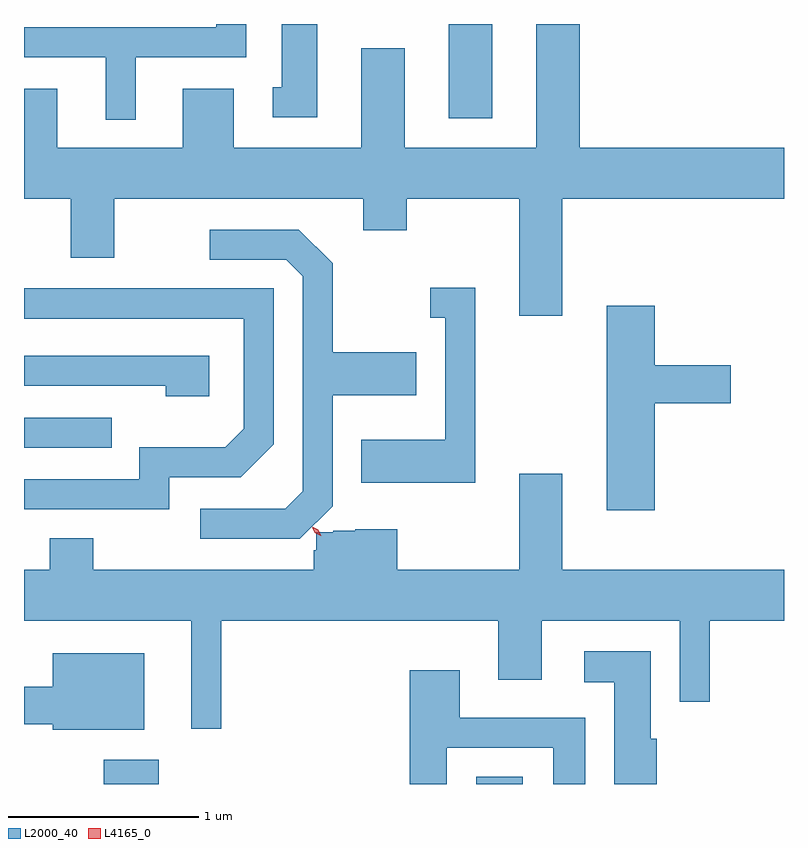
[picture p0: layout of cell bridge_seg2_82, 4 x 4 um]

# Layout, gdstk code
import gdstk
lib = gdstk.Library(unit=1e-6, precision=1e-09)
def R(c, l, rs):  # rectangles x0, y0, x1, y1
    for r in rs: c.add(gdstk.rectangle(r[:2], r[2:], *l))
def P(c, l, *ps):  # polygons
    for p in ps: c.add(gdstk.Polygon(p, *l))
L2000_40 = (2000, 40)
L4165_0 = (4165, 0)

bridge_seg2_82 = lib.new_cell('bridge_seg2_82')
R(bridge_seg2_82, L2000_40, [(1223.066,1045.236,1223.354,1045.364), (1225.026,1045.236,1225.269,1045.274), (1222.645,1047.006,1223.108,1047.164), (1224.881,1048.741,1225.109,1049.236)])
P(bridge_seg2_82, L2000_40, [(1224.189,1049.236),(1224.001,1049.236),(1224.001,1048.904),(1223.953,1048.904),(1223.953,1048.746),(1224.189,1048.746)],
  [(1223.234,1049.061),(1223.814,1049.061),(1223.814,1049.236),(1223.656,1049.236),(1223.656,1049.219),(1222.645,1049.219),(1222.645,1049.061),(1223.076,1049.061),(1223.076,1048.733),(1223.234,1048.733)],
  [(1225.479,1048.316),(1226.645,1048.316),(1226.645,1048.584),(1225.569,1048.584),(1225.569,1049.236),(1225.341,1049.236),(1225.341,1048.584),(1224.649,1048.584),(1224.649,1049.109),(1224.421,1049.109),(1224.421,1048.584),(1223.749,1048.584),(1223.749,1048.894),(1223.481,1048.894),(1223.481,1048.584),(1222.819,1048.584),(1222.819,1048.894),(1222.645,1048.894),(1222.645,1048.316),(1222.891,1048.316),(1222.891,1048.006),(1223.119,1048.006),(1223.119,1048.316),(1224.431,1048.316),(1224.431,1048.151),(1224.659,1048.151),(1224.659,1048.316),(1225.251,1048.316),(1225.251,1047.701),(1225.479,1047.701)],
  [(1224.269,1046.699),(1224.269,1047.281),(1224.709,1047.281),(1224.709,1047.509),(1224.269,1047.509),(1224.269,1047.977),(1224.092,1048.154),(1223.623,1048.154),(1223.623,1047.996),(1224.024,1047.996),(1224.111,1047.909),(1224.111,1046.777),(1224.019,1046.684),(1223.573,1046.684),(1223.573,1046.526),(1224.096,1046.526)],
  [(1225.019,1047.849),(1224.783,1047.849),(1224.783,1047.691),(1224.861,1047.691),(1224.861,1047.049),(1224.421,1047.049),(1224.421,1046.821),(1225.019,1046.821)],
  [(1223.409,1046.851),(1223.787,1046.851),(1223.959,1047.024),(1223.959,1047.844),(1222.645,1047.844),(1222.645,1047.686),(1223.801,1047.686),(1223.801,1047.107),(1223.704,1047.009),(1223.251,1047.009),(1223.251,1046.839),(1222.645,1046.839),(1222.645,1046.681),(1223.409,1046.681)],
  [(1225.964,1047.241),(1226.364,1047.241),(1226.364,1047.439),(1225.964,1047.439),(1225.964,1047.754),(1225.711,1047.754),(1225.711,1046.676),(1225.964,1046.676)],
  [(1223.619,1047.489),(1222.645,1047.489),(1222.645,1047.331),(1223.391,1047.331),(1223.391,1047.276),(1223.619,1047.276)],
  [(1223.684,1046.096),(1225.141,1046.096),(1225.141,1045.786),(1225.369,1045.786),(1225.369,1046.096),(1226.096,1046.096),(1226.096,1045.668),(1226.254,1045.668),(1226.254,1046.096),(1226.645,1046.096),(1226.645,1046.364),(1225.479,1046.364),(1225.479,1046.869),(1225.251,1046.869),(1225.251,1046.364),(1224.609,1046.364),(1224.609,1046.576),(1224.389,1046.576),(1224.389,1046.57),(1224.273,1046.57),(1224.273,1046.56),(1224.183,1046.56),(1224.183,1046.466),(1224.169,1046.466),(1224.169,1046.364),(1223.009,1046.364),(1223.009,1046.529),(1222.781,1046.529),(1222.781,1046.364),(1222.645,1046.364),(1222.645,1046.096),(1223.526,1046.096),(1223.526,1045.527),(1223.684,1045.527)],
  [(1225.974,1045.474),(1225.944,1045.474),(1225.944,1045.934),(1225.593,1045.934),(1225.593,1045.771),(1225.751,1045.771),(1225.751,1045.236),(1225.974,1045.236)],
  [(1223.279,1045.924),(1222.796,1045.924),(1222.796,1045.749),(1222.645,1045.749),(1222.645,1045.551),(1222.796,1045.551),(1222.796,1045.521),(1223.279,1045.521)],
  [(1224.869,1045.426),(1225.431,1045.426),(1225.431,1045.236),(1225.599,1045.236),(1225.599,1045.584),(1224.939,1045.584),(1224.939,1045.834),(1224.676,1045.834),(1224.676,1045.236),(1224.869,1045.236)])
P(bridge_seg2_82, L4165_0, [(1224.208,1046.542),(1224.178,1046.559),(1224.162,1046.589),(1224.162,1046.59),(1224.163,1046.59),(1224.193,1046.573),(1224.209,1046.543),(1224.209,1046.542)],
  [(1224.202,1046.545),(1224.175,1046.559),(1224.161,1046.586),(1224.161,1046.586),(1224.162,1046.586),(1224.189,1046.573),(1224.202,1046.546),(1224.202,1046.545)])

lib.write_gds('bridge_seg2_82.gds')
